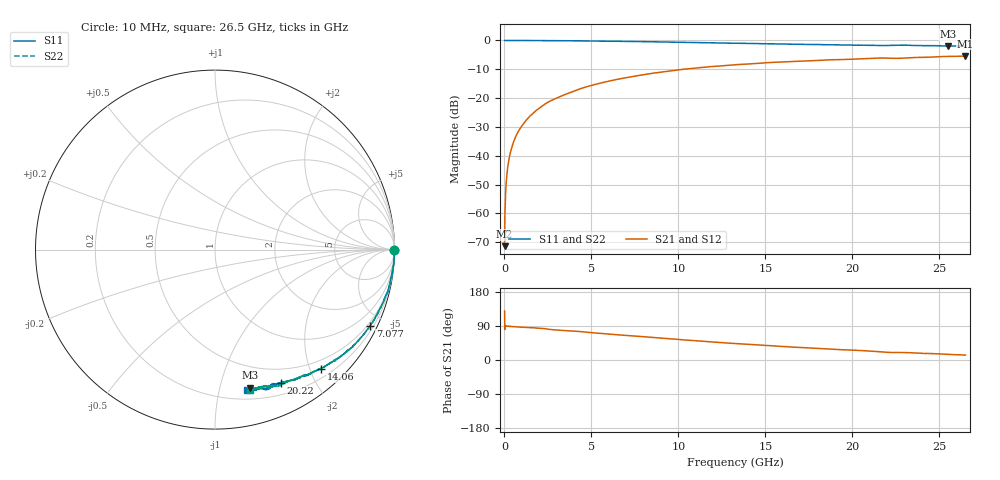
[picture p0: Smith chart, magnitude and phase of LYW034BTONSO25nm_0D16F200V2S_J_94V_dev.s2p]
!Keysight Technologies,N5222B,MY61253708,A.15.00.15
!Date: Wednesday, June 19, 2024 09:33:40
!Correction: S11(C  2-Port  )
!S21(C  2-Port  )
!S12(C  2-Port  )
!S22(C  2-Port  )
!S2P File: Measurements: S11, S21, S12, S22:
# Hz S  RI  R 50
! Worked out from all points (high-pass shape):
!   2651 points, 10 MHz to 26.5 GHz, reference 50 ohm
!   highest |S21| = -5.38 dB at 26.5 GHz (marker M1); lowest = -71.4 dB at 10 MHz (marker M2)
!   |S21| within 3 dB of the highest: 13.41 GHz to end of sweep
!   lowest |S11| = -2.0 dB at 25.5 GHz (marker M3), VSWR 8.71, Z = 14.9 - j62.2 ohm
!   |S11| at or under -10 dB: nowhere
!   |S22| runs from -1.9 to 0.0 dB; largest |S21 - S12| = 0.0068
!   S11 on the Smith chart (normalised r, x): 10 MHz: open; 7.077 GHz: 0.37, -4.28; 14.06 GHz: 0.34, -2.18; 20.22 GHz: 0.33, -1.56; 26.5 GHz: 0.27, -1.21
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1e7  0.9988 -0.00247  -0.00017 0.000209  0.00021 0.00063  0.9984 -0.0011
7.997358e7  0.9998 -0.00575  -5.45e-06 0.00268  4.06e-06 0.00267  0.9994 -0.00526
1.599434e8  0.9998 -0.0115  5.94e-05 0.00533  5.22e-05 0.00537  0.9997 -0.0107
1.999283e8  1 -0.0138  0.000123 0.00666  8.58e-05 0.00672  0.9998 -0.013
2.499094e8  0.9995 -0.0174  0.000137 0.00832  0.000157 0.00838  0.9994 -0.0164
3.498717e8  0.9995 -0.0241  0.00025 0.0116  0.000266 0.0117  0.9995 -0.023
4.798226e8  0.9988 -0.0329  0.000505 0.0159  0.000493 0.0161  0.9985 -0.0315
6.397623e8  0.9986 -0.0432  0.000891 0.0212  0.0009 0.0214  0.9985 -0.042
8.296906e8  0.9978 -0.0558  0.0015 0.0274  0.00148 0.0277  0.998 -0.0547
1.449457e9  0.9904 -0.0982  0.00355 0.0481  0.00362 0.0484  0.9928 -0.0941
2.329125e9  0.9815 -0.1526  0.0101 0.078  0.0103 0.0786  0.9829 -0.1524
3.198796e9  0.9703 -0.2083  0.0212 0.1042  0.0215 0.1049  0.9706 -0.2068
4.428332e9  0.9416 -0.2821  0.0388 0.1422  0.0394 0.1432  0.9439 -0.2783
7.077332e9  0.8644 -0.4243  0.0982 0.2063  0.0997 0.207  0.867 -0.4213
8.846664e9  0.8003 -0.504  0.1462 0.2373  0.1479 0.238  0.8033 -0.501
1.3255e10  0.6229 -0.6433  0.2739 0.2609  0.2766 0.2606  0.6291 -0.6406
1.406469e10  0.5899 -0.6649  0.2957 0.2582  0.2978 0.258  0.5982 -0.6564
1.767333e10  0.4503 -0.7211  0.38 0.2324  0.3838 0.2306  0.4637 -0.7181
2.022237e10  0.366 -0.7417  0.4309 0.205  0.4329 0.2021  0.3818 -0.7416
2.209166e10  0.3153 -0.7525  0.4623 0.1701  0.4644 0.1669  0.3125 -0.7592
2.550038e10  0.1968 -0.7693  0.5111 0.1332  0.5127 0.1325  0.2199 -0.7735
2.65e10  0.1778 -0.7837  0.5244 0.1221  0.5241 0.1178  0.1936 -0.7832
